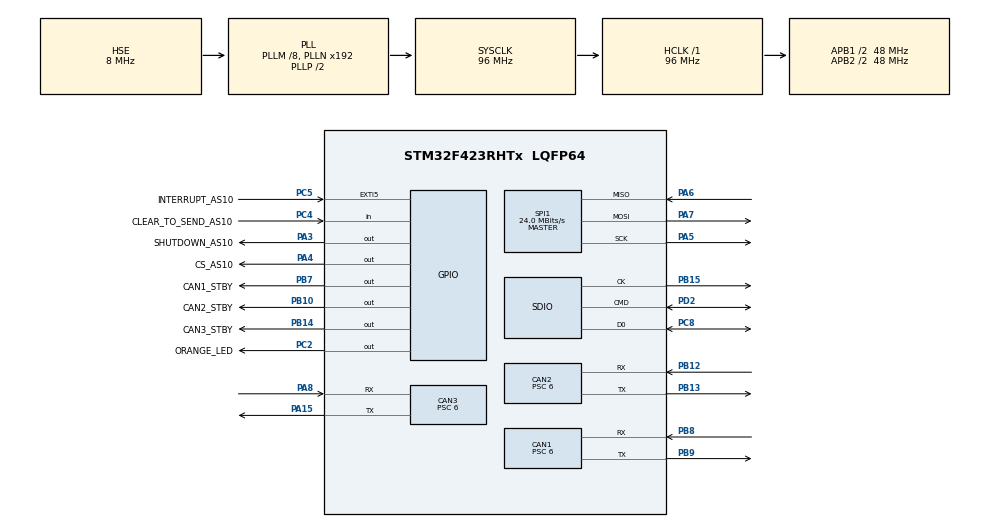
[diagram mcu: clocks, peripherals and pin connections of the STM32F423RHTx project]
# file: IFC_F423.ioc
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Mcu.Family=STM32F4
PA6.Mode=Full_Duplex_Master
RCC.CortexFreq_Value=96000000
NVIC.CAN2_RX0_IRQn=true\:3\:0\:true\:false\:true\:true\:true
SPI1.VirtualType=VM_MASTER
PB10.GPIO_PuPd=GPIO_PULLDOWN
NVIC.TIM6_DAC_IRQn=true\:0\:0\:false\:false\:true\:true\:true
VP_FATFS_VS_SDIO.Mode=SDIO
CAN2.CalculateTimeBit=1000.00
PB14.GPIO_Label=CAN3_STBY
PB15.Signal=SDIO_CK
PB13.Signal=CAN2_TX
RCC.SYSCLKSource=RCC_SYSCLKSOURCE_PLLCLK
ProjectManager.StackSize=0x400
PC11.GPIO_PuPd=GPIO_PULLUP
PH0\ -\ OSC_IN.Signal=RCC_OSC_IN
SPI1.Direction=SPI_DIRECTION_2LINES
RCC.HCLKFreq_Value=96000000
RCC.APB2TimFreq_Value=96000000
SPI1.CalculateBaudRate=24.0 MBits/s
RCC.AHBFreq_Value=96000000
CAN3.BS1=CAN_BS1_6TQ
RCC.HSE_VALUE=8000000
PB3.Mode=Trace_Asynchronous_SW
PA15.Mode=CAN_Activate
CAN3.Prescaler=6
PC4.GPIO_Label=CLEAR_TO_SEND_AS10
PA14.Mode=Trace_Asynchronous_SW
CAN2.Prescaler=6
PB7.Signal=GPIO_Output
PA8.Signal=CAN3_RX
CAN3.CalculateTimeQuantum=125.0
TIM6.Period=1000 - 1
PB7.GPIO_Label=CAN1_STBY
CAN1.Prescaler=6
Mcu.Package=LQFP64
PB9.Signal=CAN1_TX
PB14.GPIO_PuPd=GPIO_PULLDOWN
PA6.Signal=SPI1_MISO
PB12.Mode=CAN_Activate
CAN2.BS1=CAN_BS1_6TQ
NVIC.CAN3_RX0_IRQn=true\:3\:0\:true\:false\:true\:true\:true
PA15.Signal=CAN3_TX
RCC.APB2CLKDivider=RCC_HCLK_DIV2
RCC.APB1TimFreq_Value=96000000
PC5.Signal=GPXTI5
PB13.Mode=CAN_Activate
CAN1.CalculateTimeBit=1000.00
PA4.GPIO_Label=CS_AS10
PC2.GPIO_Label=ORANGE_LED
PA3.Signal=GPIO_Output
CAN1.CalculateTimeQuantum=125.0
PA5.Mode=Full_Duplex_Master
PB7.GPIO_PuPd=GPIO_PULLDOWN
RCC.PLLSourceVirtual=RCC_PLLSOURCE_HSE
CAN2.CalculateBaudRate=1000000
PA7.Mode=Full_Duplex_Master
PD2.GPIO_PuPd=GPIO_PULLUP
PC11.Signal=SDIO_D3
CAN1.CalculateBaudRate=1000000
PC8.Signal=SDIO_D0
PH1\ -\ OSC_OUT.Mode=HSE-External-Oscillator
TIM6.Prescaler=96 -1
PC4.Signal=GPIO_Input
PC2.Signal=GPIO_Output
VP_TIM6_VS_ClockSourceINT.Mode=Enable_Timer
RCC.APB1CLKDivider=RCC_HCLK_DIV2
PA9.GPIO_PuPd=GPIO_PULLUP
PA13.Signal=SYS_JTMS-SWDIO
PH0\ -\ OSC_IN.Mode=HSE-External-Oscillator
CAN1.BS1=CAN_BS1_6TQ
ProjectManager.TargetToolchain=STM32CubeIDE
PB10.GPIO_Label=CAN2_STBY
PB9.Mode=CAN_Activate
PA9.Signal=SDIO_D2
RCC.USBFreq_Value=48000000
SDIO.ClockDiv=15
CAN3.CalculateBaudRate=1000000
PB10.Signal=GPIO_Output
PD2.Mode=SD_1_bit
PB14.Signal=GPIO_Output
PA5.Signal=SPI1_SCK
PH1\ -\ OSC_OUT.Signal=RCC_OSC_OUT
board=custom
RCC.VCOOutputFreq_Value=192000000
PB15.Mode=SD_1_bit
CAN3.CalculateTimeBit=1000.00
RCC.APB2Freq_Value=48000000
SPI1.Mode=SPI_MODE_MASTER
CAN2.CalculateTimeQuantum=125.0
PC9.GPIO_PuPd=GPIO_PULLUP
PA13.Mode=Trace_Asynchronous_SW
Mcu.Name=STM32F423RHTx
FATFS._MAX_SS=4096
PC8.Mode=SD_1_bit
PC8.GPIO_PuPd=GPIO_PULLUP
PB3.Signal=SYS_JTDO-SWO
PA4.Signal=GPIO_Output
RCC.SYSCLKFreq_VALUE=96000000
PC5.GPIO_Label=INTERRUPT_AS10
PA14.Signal=SYS_JTCK-SWCLK
ProjectManager.HeapSize=0x200
RCC.PLLQ=4
NVIC.PriorityGroup=NVIC_PRIORITYGROUP_4
RCC.PLLM=8
PB8.Mode=CAN_Activate
PB8.Signal=CAN1_RX
PA8.Mode=CAN_Activate
PC9.Signal=SDIO_D1
PD2.Signal=SDIO_CMD
RCC.APB1Freq_Value=48000000
PB12.Signal=CAN2_RX
NVIC.CAN1_RX0_IRQn=true\:3\:0\:true\:false\:true\:true\:true
PA3.GPIO_Label=SHUTDOWN_AS10
PA7.Signal=SPI1_MOSI

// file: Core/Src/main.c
/* USER CODE BEGIN Header */
/**
  ******************************************************************************
  * @file           : main.c
  * @brief          : Main program body
  ******************************************************************************
  * @attention
  *
  * <h2><center>&copy; Copyright (c) 2021 STMicroelectronics.
  * All rights reserved.</center></h2>
  *
  * This software component is licensed by ST under BSD 3-Clause license,
  * the "License"; You may not use this file except in compliance with the
  * License. You may obtain a copy of the License at:
  *                        opensource.org/licenses/BSD-3-Clause
  *
  ******************************************************************************
  */
/* USER CODE END Header */
#include "main.h"
#include "can.h"
#include "fatfs.h"
#include "sdio.h"
#include "spi.h"
#include "tim.h"
#include "gpio.h"

/* USER CODE BEGIN Includes */
#include "OSUserInclude.h"
/* USER CODE END Includes */

void SystemClock_Config(void);

/* USER CODE BEGIN 0 */

IFC_PeripheralStruct ifc;
/* USER CODE END 0 */

int main(void)
{

  /* MCU Configuration--------------------------------------------------------*/

  /* Reset of all peripherals, Initializes the Flash interface and the Systick. */
  HAL_Init();

  /* Configure the system clock */
  SystemClock_Config();

  /* Initialize all configured peripherals */
  MX_GPIO_Init();
  MX_CAN1_Init();
  MX_CAN2_Init();
  MX_CAN3_Init();
  MX_SDIO_SD_Init();
  MX_SPI1_Init();
  MX_FATFS_Init();
  MX_TIM6_Init();
  /* USER CODE BEGIN 2 */

    ifc.busSys = &hcan1;
	ifc.busGSE = &hcan3;
//	ifc.serialDebug = &huart2;
	ifc.htim = &htim6;

	ifc.LD1.port = ORANGE_LED_GPIO_Port;
	ifc.LD1.pin = ORANGE_LED_Pin;

	initMicrocontroller();
	HYOS_start();
	IFC_init(&ifc);
	HYOS_start();

//	IFC_DH_sendTransition(IDLE);
//	IFC_DH_sendTransition(FUELING);
//	IFC_DH_sendTransition(RDY_SET);
//	IFC_DH_sendTransition(FLIGHT);
	uint8_t flag = 0;

  /* USER CODE END 2 */

  /* Infinite loop */
  /* USER CODE BEGIN WHILE */
  while (1)
  {
	  getTasks()->whileHandle();

	  if (flag == 1) {
			IFC_DH_sendTransition(IDLE);
	  } else if (flag == 2) {
			IFC_DH_sendTransition(FUELING);
	  } else if (flag == 3) {
			IFC_DH_sendTransition(RDY_SET);
	  } else if (flag == 4) {
			IFC_DH_sendTransition(FLIGHT);
	  }
    /* USER CODE END WHILE */

  }
}

void SystemClock_Config(void)
{
  RCC_OscInitTypeDef RCC_OscInitStruct = {0};
  RCC_ClkInitTypeDef RCC_ClkInitStruct = {0};
  RCC_PeriphCLKInitTypeDef PeriphClkInitStruct = {0};

  /** Configure the main internal regulator output voltage
  */
  __HAL_RCC_PWR_CLK_ENABLE();
  __HAL_PWR_VOLTAGESCALING_CONFIG(PWR_REGULATOR_VOLTAGE_SCALE1);
  /** Initializes the RCC Oscillators according to the specified parameters
  * in the RCC_OscInitTypeDef structure.
  */
  RCC_OscInitStruct.OscillatorType = RCC_OSCILLATORTYPE_HSE;
  RCC_OscInitStruct.HSEState = RCC_HSE_ON;
  RCC_OscInitStruct.PLL.PLLState = RCC_PLL_ON;
  RCC_OscInitStruct.PLL.PLLSource = RCC_PLLSOURCE_HSE;
  RCC_OscInitStruct.PLL.PLLM = 8;
  RCC_OscInitStruct.PLL.PLLN = 192;
  RCC_OscInitStruct.PLL.PLLP = RCC_PLLP_DIV2;
  RCC_OscInitStruct.PLL.PLLQ = 4;
  RCC_OscInitStruct.PLL.PLLR = 2;
  if (HAL_RCC_OscConfig(&RCC_OscInitStruct) != HAL_OK)
  {
    Error_Handler();
  }
  /** Initializes the CPU, AHB and APB buses clocks
  */
  RCC_ClkInitStruct.ClockType = RCC_CLOCKTYPE_HCLK|RCC_CLOCKTYPE_SYSCLK
                              |RCC_CLOCKTYPE_PCLK1|RCC_CLOCKTYPE_PCLK2;
  RCC_ClkInitStruct.SYSCLKSource = RCC_SYSCLKSOURCE_PLLCLK;
  RCC_ClkInitStruct.AHBCLKDivider = RCC_SYSCLK_DIV1;
  RCC_ClkInitStruct.APB1CLKDivider = RCC_HCLK_DIV2;
  RCC_ClkInitStruct.APB2CLKDivider = RCC_HCLK_DIV2;

  if (HAL_RCC_ClockConfig(&RCC_ClkInitStruct, FLASH_LATENCY_3) != HAL_OK)
  {
    Error_Handler();
  }
  PeriphClkInitStruct.PeriphClockSelection = RCC_PERIPHCLK_SDIO|RCC_PERIPHCLK_CLK48;
  PeriphClkInitStruct.Clk48ClockSelection = RCC_CLK48CLKSOURCE_PLLQ;
  PeriphClkInitStruct.SdioClockSelection = RCC_SDIOCLKSOURCE_CLK48;
  if (HAL_RCCEx_PeriphCLKConfig(&PeriphClkInitStruct) != HAL_OK)
  {
    Error_Handler();
  }
}

/* USER CODE BEGIN 4 */
void HAL_TIM_PeriodElapsedCallback(TIM_HandleTypeDef *htim) {
	IFC_BOARD_tick();
}
/* USER CODE END 4 */

void Error_Handler(void)
{
  __disable_irq();
  while (1)
  {
  }
}

/************************ (C) COPYRIGHT STMicroelectronics *****END OF FILE****/
